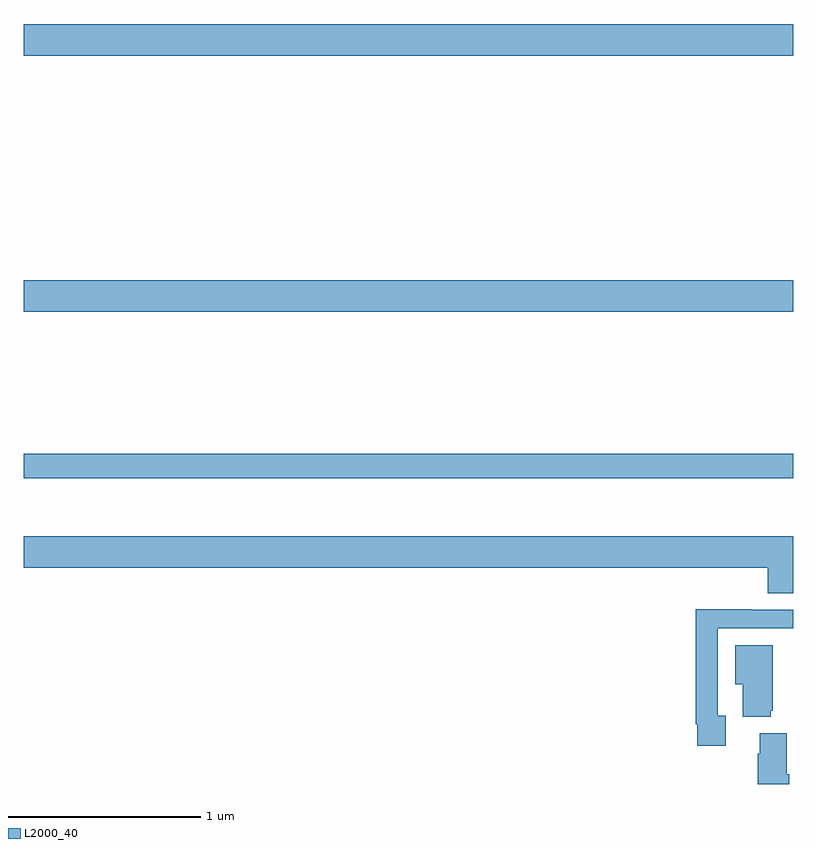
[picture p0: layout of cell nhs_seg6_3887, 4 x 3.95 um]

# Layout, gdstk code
import gdstk
lib = gdstk.Library(unit=1e-6, precision=1e-09)
def R(c, l, rs):  # rectangles x0, y0, x1, y1
    for r in rs: c.add(gdstk.rectangle(r[:2], r[2:], *l))
def P(c, l, *ps):  # polygons
    for p in ps: c.add(gdstk.Polygon(p, *l))
L2000_40 = (2000, 40)

nhs_seg6_3887 = lib.new_cell('nhs_seg6_3887')
R(nhs_seg6_3887, L2000_40, [(339,993.09,343,993.218), (339,993.956,343,994.12), (339,995.288,343,995.452)])
P(nhs_seg6_3887, L2000_40, [(343,992.788),(339,992.788),(339,992.624),(342.869,992.624),(342.869,992.491),(343,992.491)],
  [(342.649,991.854),(342.609,991.854),(342.609,992.31),(343,992.31),(343,992.406),(342.785,992.406),(342.785,992.408),(342.493,992.408),(342.493,991.81),(342.501,991.81),(342.501,991.698),(342.649,991.698)],
  [(342.884,991.881),(342.895,991.881),(342.895,992.221),(342.698,992.221),(342.698,992.018),(342.737,992.018),(342.737,991.85),(342.884,991.85)],
  [(342.98,991.552),(342.967,991.552),(342.967,991.765),(342.827,991.765),(342.827,991.658),(342.815,991.658),(342.815,991.5),(342.98,991.5)])

lib.write_gds('nhs_seg6_3887.gds')
